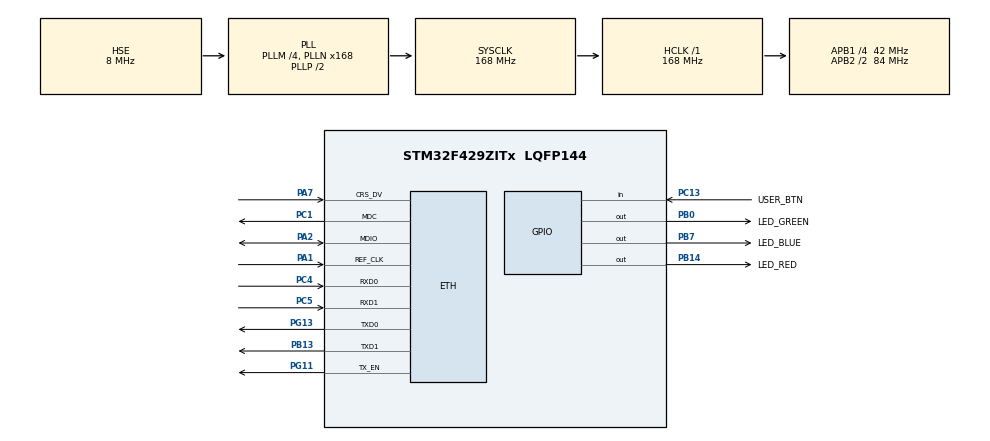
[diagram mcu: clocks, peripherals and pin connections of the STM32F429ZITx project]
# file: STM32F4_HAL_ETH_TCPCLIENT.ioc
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ETH.MediaInterface=ETH_MEDIA_INTERFACE_RMII
ETH.PhyAddress=0
LWIP.GATEWAY_ADDRESS=192.168.001.001
LWIP.IP_ADDRESS=192.168.001.100
LWIP.LWIP_DHCP=1
LWIP.LWIP_DNS=1
LWIP.LWIP_NETIF_LINK_CALLBACK=1
LWIP.NETMASK_ADDRESS=255.255.255.000
LWIP.Version=v2.1.2_Cube
Mcu.Family=STM32F4
Mcu.Name=STM32F429ZITx
Mcu.Package=LQFP144
NVIC.PriorityGroup=NVIC_PRIORITYGROUP_4
PA1.Mode=RMII
PA1.Signal=ETH_REF_CLK
PA13.Mode=Trace_Asynchronous_SW
PA13.Signal=SYS_JTMS-SWDIO
PA14.Mode=Trace_Asynchronous_SW
PA14.Signal=SYS_JTCK-SWCLK
PA2.Mode=RMII
PA2.Signal=ETH_MDIO
PA7.Mode=RMII
PA7.Signal=ETH_CRS_DV
PB0.GPIO_Label=LED_GREEN
PB0.Signal=GPIO_Output
PB13.Mode=RMII
PB13.Signal=ETH_TXD1
PB14.GPIO_Label=LED_RED
PB14.Signal=GPIO_Output
PB3.Mode=Trace_Asynchronous_SW
PB3.Signal=SYS_JTDO-SWO
PB7.GPIO_Label=LED_BLUE
PB7.Signal=GPIO_Output
PC1.Mode=RMII
PC1.Signal=ETH_MDC
PC13.GPIO_Label=USER_BTN
PC13.Signal=GPIO_Input
PC14/OSC32_IN.Mode=LSE-External-Oscillator
PC14/OSC32_IN.Signal=RCC_OSC32_IN
PC15/OSC32_OUT.Mode=LSE-External-Oscillator
PC15/OSC32_OUT.Signal=RCC_OSC32_OUT
PC4.Mode=RMII
PC4.Signal=ETH_RXD0
PC5.Mode=RMII
PC5.Signal=ETH_RXD1
PG11.Mode=RMII
PG11.Signal=ETH_TX_EN
PG13.Mode=RMII
PG13.Signal=ETH_TXD0
PH0/OSC_IN.Mode=HSE-External-Clock-Source
PH0/OSC_IN.Signal=RCC_OSC_IN
PH1/OSC_OUT.Mode=HSE-External-Clock-Source
PH1/OSC_OUT.Signal=RCC_OSC_OUT
ProjectManager.HeapSize=0x200
ProjectManager.StackSize=0x800
ProjectManager.TargetToolchain=STM32CubeIDE
RCC.48MHZClocksFreq_Value=48000000
RCC.AHBFreq_Value=168000000
RCC.APB1CLKDivider=RCC_HCLK_DIV4
RCC.APB1Freq_Value=42000000
RCC.APB1TimFreq_Value=84000000
RCC.APB2CLKDivider=RCC_HCLK_DIV2
RCC.APB2Freq_Value=84000000
RCC.APB2TimCLKDivider=2
RCC.APB2TimFreq_Value=168000000
RCC.CortexFreq_Value=168000000
RCC.HCLKFreq_Value=168000000
RCC.HSE_VALUE=8000000
RCC.HSI_VALUE=16000000
RCC.PLLM=4
RCC.PLLMUL=RCC_PLL_MUL9
RCC.PLLN=168
RCC.PLLQ=7
RCC.PLLSourceVirtual=RCC_PLLSOURCE_HSE
RCC.PRESCALERUSB=RCC_USBCLKSOURCE_PLL_DIV1_5
RCC.SYSCLKFreq_VALUE=168000000
RCC.SYSCLKSource=RCC_SYSCLKSOURCE_PLLCLK
RCC.SYSCLKSourceVirtual=RCC_SYSCLKSOURCE_PLLCLK
RCC.USBFreq_Value=48000000
RCC.VCOOutputFreq_Value=336000000
VP_LWIP_VS_Enabled.Mode=Enabled
board=NUCLEO-F429ZI

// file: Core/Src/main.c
/* USER CODE BEGIN Header */
/**
  ******************************************************************************
  * @file           : main.c
  * @brief          : Main program body
  ******************************************************************************
  * @attention
  *
  * <h2><center>&copy; Copyright (c) 2020 STMicroelectronics.
  * All rights reserved.</center></h2>
  *
  * This software component is licensed by ST under Ultimate Liberty license
  * SLA0044, the "License"; You may not use this file except in compliance with
  * the License. You may obtain a copy of the License at:
  *                             www.st.com/SLA0044
  *
  ******************************************************************************
  */
/* USER CODE END Header */

#include "main.h"
#include "lwip.h"
#include "gpio.h"

/* USER CODE BEGIN Includes */
#include <stdbool.h>
#include <tcp_client.h>
/* USER CODE END Includes */

/* USER CODE BEGIN PV */
extern struct netif gnetif;
extern bool timeFlag;
/* USER CODE END PV */

void SystemClock_Config(void);

/* USER CODE BEGIN 0 */
int _write(int file, char *ptr, int len)
{
  int DataIdx;

  for (DataIdx = 0; DataIdx < len; DataIdx++)
  {
    ITM_SendChar(*ptr++);
  }
  return len;
}

void ethernetif_notify_conn_changed(struct netif *netif)
{
  /* NOTE : This is function could be implemented in user file
   when the callback is needed,
   */
  if (netif_is_link_up(netif))
  {
    HAL_GPIO_WritePin(LED_GREEN_GPIO_Port, LED_GREEN_Pin, GPIO_PIN_SET);
    HAL_GPIO_WritePin(LED_RED_GPIO_Port, LED_RED_Pin, GPIO_PIN_RESET);
  }
  else
  {
    HAL_GPIO_WritePin(LED_GREEN_GPIO_Port, LED_GREEN_Pin, GPIO_PIN_RESET);
    HAL_GPIO_WritePin(LED_RED_GPIO_Port, LED_RED_Pin, GPIO_PIN_SET);
  }
}
/* USER CODE END 0 */

int main(void)
{

  /* MCU Configuration--------------------------------------------------------*/

  /* Reset of all peripherals, Initializes the Flash interface and the Systick. */
  HAL_Init();

  /* Configure the system clock */
  SystemClock_Config();

  /* Initialize all configured peripherals */
  MX_GPIO_Init();
  MX_LWIP_Init();
  /* USER CODE BEGIN 2 */
  ethernetif_notify_conn_changed(&gnetif);

  /* USER CODE END 2 */

  /* Infinite loop */
  while (1)
  {

    /* USER CODE BEGIN 3 */
    MX_LWIP_Process();

    if(timeFlag)
    {
      timeFlag = false;
      app_start_get_time(); //get time information from the server
    }
  }
  /* USER CODE END 3 */
}

void SystemClock_Config(void)
{
  RCC_OscInitTypeDef RCC_OscInitStruct = {0};
  RCC_ClkInitTypeDef RCC_ClkInitStruct = {0};

  /** Configure the main internal regulator output voltage
  */
  __HAL_RCC_PWR_CLK_ENABLE();
  __HAL_PWR_VOLTAGESCALING_CONFIG(PWR_REGULATOR_VOLTAGE_SCALE1);
  /** Initializes the CPU, AHB and APB busses clocks
  */
  RCC_OscInitStruct.OscillatorType = RCC_OSCILLATORTYPE_HSE;
  RCC_OscInitStruct.HSEState = RCC_HSE_BYPASS;
  RCC_OscInitStruct.PLL.PLLState = RCC_PLL_ON;
  RCC_OscInitStruct.PLL.PLLSource = RCC_PLLSOURCE_HSE;
  RCC_OscInitStruct.PLL.PLLM = 4;
  RCC_OscInitStruct.PLL.PLLN = 168;
  RCC_OscInitStruct.PLL.PLLP = RCC_PLLP_DIV2;
  RCC_OscInitStruct.PLL.PLLQ = 7;
  if (HAL_RCC_OscConfig(&RCC_OscInitStruct) != HAL_OK)
  {
    Error_Handler();
  }
  /** Initializes the CPU, AHB and APB busses clocks
  */
  RCC_ClkInitStruct.ClockType = RCC_CLOCKTYPE_HCLK|RCC_CLOCKTYPE_SYSCLK
                              |RCC_CLOCKTYPE_PCLK1|RCC_CLOCKTYPE_PCLK2;
  RCC_ClkInitStruct.SYSCLKSource = RCC_SYSCLKSOURCE_PLLCLK;
  RCC_ClkInitStruct.AHBCLKDivider = RCC_SYSCLK_DIV1;
  RCC_ClkInitStruct.APB1CLKDivider = RCC_HCLK_DIV4;
  RCC_ClkInitStruct.APB2CLKDivider = RCC_HCLK_DIV2;

  if (HAL_RCC_ClockConfig(&RCC_ClkInitStruct, FLASH_LATENCY_5) != HAL_OK)
  {
    Error_Handler();
  }
}

void Error_Handler(void)
{
}

/************************ (C) COPYRIGHT STMicroelectronics *****END OF FILE****/
